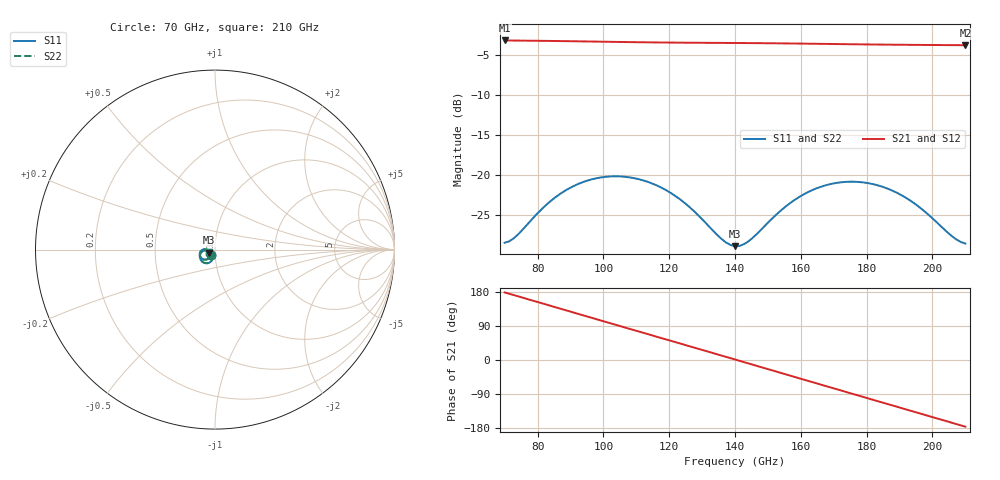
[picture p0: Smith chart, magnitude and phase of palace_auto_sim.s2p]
#  GHZ S DB R 50
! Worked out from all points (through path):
!   101 points, 70 GHz to 210 GHz, reference 50 ohm
!   highest |S21| = -3.13 dB at 70 GHz (marker M1); lowest = -3.7 dB at 210 GHz (marker M2)
!   group delay of S21, straight-line fit = 7.03 ps
!   lowest |S11| = -28.9 dB at 140 GHz (marker M3), VSWR 1.07, Z = 46.9 - j1.56 ohm
!   |S11| at or under -10 dB: start of sweep to end of sweep
!   |S22| runs from -29.0 to -20.2 dB; largest |S21 - S12| = 8e-14
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70  -28.51 -127.7  -3.13 178.4  -3.13 178.4  -28.33 -128.8
74.2  -27.42 -112.6  -3.15 167.8  -3.15 167.8  -27.33 -113.9
81.2  -24.32 -106.4  -3.18 150.0  -3.18 150.0  -24.31 -107.4
86.8  -22.40 -111.4  -3.20 135.8  -3.20 135.8  -22.40 -112.2
93.8  -20.89 -122.4  -3.25 118.0  -3.25 118.0  -20.91 -123.0
99.4  -20.30 -132.6  -3.28 103.9  -3.28 103.9  -20.32 -133.1
105  -20.18 -143.2  -3.32 89.7  -3.32 89.7  -20.20 -143.6
110.6  -20.52 -153.5  -3.35 75.6  -3.35 75.6  -20.53 -153.8
117.6  -21.59 -165.1  -3.38 58.0  -3.38 58.0  -21.61 -165.3
128.8  -25.05 -175.2  -3.42 29.7  -3.42 29.7  -25.10 -175.4
135.8  -27.99 -166.7  -3.44 12.0  -3.44 12.0  -28.09 -166.6
140  -28.94 -152.3  -3.45 1.3  -3.45 1.3  -29.03 -151.9
144.2  -28.30 -137.0  -3.46 -9.3  -3.46 -9.3  -28.36 -136.4
151.2  -25.51 -126.4  -3.48 -27.1  -3.48 -27.1  -25.51 -125.8
163.8  -21.84 -136.4  -3.54 -59.1  -3.54 -59.1  -21.83 -136.0
169.4  -21.11 -144.9  -3.57 -73.3  -3.57 -73.3  -21.10 -144.5
175  -20.85 -154.0  -3.60 -87.5  -3.60 -87.5  -20.84 -153.7
180.6  -21.04 -163.0  -3.63 -101.7  -3.63 -101.7  -21.04 -162.8
187.6  -21.93 -173.3  -3.66 -119.3  -3.66 -119.3  -21.95 -173.1
198.8  -25.00 177.8  -3.69 -147.6  -3.69 -147.6  -25.08 178.0
205.8  -27.64 -174.8  -3.71 -165.4  -3.71 -165.4  -27.81 -174.2
210  -28.60 -162.2  -3.73 -176.0  -3.73 -176.0  -28.79 -161.1
